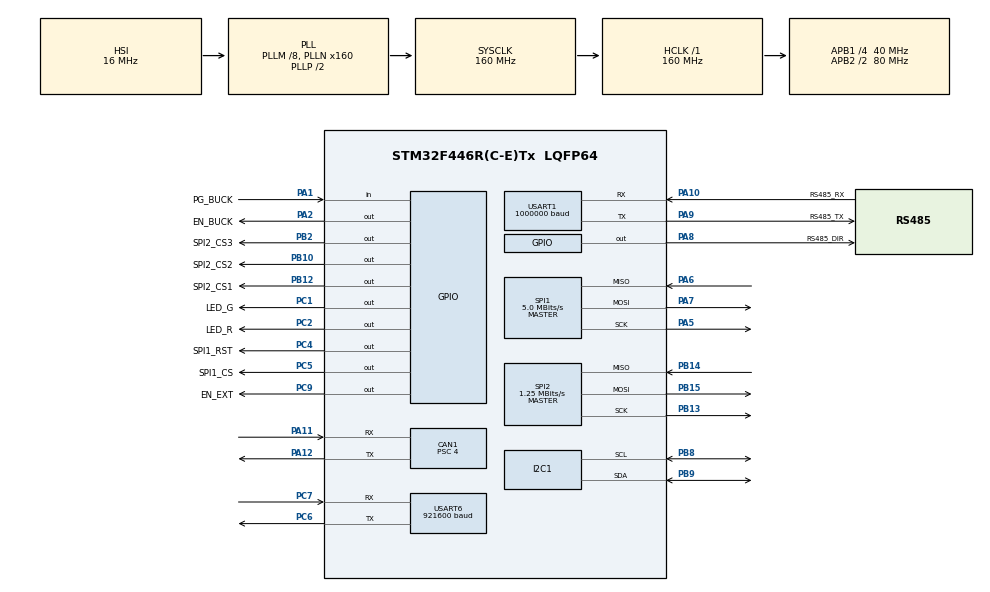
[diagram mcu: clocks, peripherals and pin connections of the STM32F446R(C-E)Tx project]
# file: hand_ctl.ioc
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CAN1.BS1=CAN_BS1_8TQ
CAN1.CalculateBaudRate=1000000
CAN1.CalculateTimeBit=1000
CAN1.CalculateTimeQuantum=100.0
CAN1.Prescaler=4
Dma.Request0=USART1_RX
Dma.Request1=USART1_TX
Dma.Request2=USART6_TX
Dma.Request3=USART6_RX
Dma.USART1_RX.0.Direction=DMA_PERIPH_TO_MEMORY
Dma.USART1_RX.0.FIFOMode=DMA_FIFOMODE_DISABLE
Dma.USART1_RX.0.Instance=DMA2_Stream2
Dma.USART1_RX.0.MemDataAlignment=DMA_MDATAALIGN_BYTE
Dma.USART1_RX.0.MemInc=DMA_MINC_ENABLE
Dma.USART1_RX.0.Mode=DMA_CIRCULAR
Dma.USART1_RX.0.PeriphDataAlignment=DMA_PDATAALIGN_BYTE
Dma.USART1_RX.0.PeriphInc=DMA_PINC_DISABLE
Dma.USART1_RX.0.Priority=DMA_PRIORITY_LOW
Dma.USART1_TX.1.Direction=DMA_MEMORY_TO_PERIPH
Dma.USART1_TX.1.FIFOMode=DMA_FIFOMODE_DISABLE
Dma.USART1_TX.1.Instance=DMA2_Stream7
Dma.USART1_TX.1.MemDataAlignment=DMA_MDATAALIGN_BYTE
Dma.USART1_TX.1.MemInc=DMA_MINC_ENABLE
Dma.USART1_TX.1.Mode=DMA_NORMAL
Dma.USART1_TX.1.PeriphDataAlignment=DMA_PDATAALIGN_BYTE
Dma.USART1_TX.1.PeriphInc=DMA_PINC_DISABLE
Dma.USART1_TX.1.Priority=DMA_PRIORITY_LOW
Dma.USART6_RX.3.Direction=DMA_PERIPH_TO_MEMORY
Dma.USART6_RX.3.FIFOMode=DMA_FIFOMODE_DISABLE
Dma.USART6_RX.3.Instance=DMA2_Stream1
Dma.USART6_RX.3.MemDataAlignment=DMA_MDATAALIGN_BYTE
Dma.USART6_RX.3.MemInc=DMA_MINC_ENABLE
Dma.USART6_RX.3.Mode=DMA_CIRCULAR
Dma.USART6_RX.3.PeriphDataAlignment=DMA_PDATAALIGN_BYTE
Dma.USART6_RX.3.PeriphInc=DMA_PINC_DISABLE
Dma.USART6_RX.3.Priority=DMA_PRIORITY_LOW
Dma.USART6_TX.2.Direction=DMA_MEMORY_TO_PERIPH
Dma.USART6_TX.2.FIFOMode=DMA_FIFOMODE_DISABLE
Dma.USART6_TX.2.Instance=DMA2_Stream6
Dma.USART6_TX.2.MemDataAlignment=DMA_MDATAALIGN_BYTE
Dma.USART6_TX.2.MemInc=DMA_MINC_ENABLE
Dma.USART6_TX.2.Mode=DMA_NORMAL
Dma.USART6_TX.2.PeriphDataAlignment=DMA_PDATAALIGN_BYTE
Dma.USART6_TX.2.PeriphInc=DMA_PINC_DISABLE
Dma.USART6_TX.2.Priority=DMA_PRIORITY_LOW
FREERTOS.Tasks01=defaultTask,24,128,StartDefaultTask,Default,NULL,Dynamic,NULL,NULL;lasfTask,8,128,Start_lasf_Task,Default,NULL,Dynamic,NULL,NULL;rs485Task,8,128,Startrs485,Default,NULL,Dynamic,NULL,NULL;tactileTask,8,128,Start_tectile_Task,Default,NULL,Dynamic,NULL,NULL;soesTask,40,2048,StartsoesTask,Default,NULL,Dynamic,NULL,NULL
FREERTOS.configTOTAL_HEAP_SIZE=65536
FREERTOS.configUSE_NEWLIB_REENTRANT=1
Mcu.Family=STM32F4
Mcu.Name=STM32F446R(C-E)Tx
Mcu.Package=LQFP64
NVIC.CAN1_RX0_IRQn=true\:5\:0\:false\:false\:true\:true\:true\:true\:true
NVIC.DMA2_Stream1_IRQn=true\:5\:0\:false\:false\:true\:true\:false\:true\:true
NVIC.DMA2_Stream2_IRQn=true\:5\:0\:false\:false\:true\:true\:false\:true\:true
NVIC.DMA2_Stream6_IRQn=true\:5\:0\:false\:false\:true\:true\:false\:true\:true
NVIC.DMA2_Stream7_IRQn=true\:5\:0\:false\:false\:true\:true\:false\:true\:true
NVIC.PriorityGroup=NVIC_PRIORITYGROUP_4
NVIC.TIM6_DAC_IRQn=true\:15\:0\:false\:false\:true\:false\:false\:true\:true
NVIC.TimeBase=TIM6_DAC_IRQn
NVIC.TimeBaseIP=TIM6
NVIC.USART1_IRQn=true\:5\:0\:false\:false\:true\:true\:true\:true\:true
NVIC.USART6_IRQn=true\:5\:0\:false\:false\:true\:true\:true\:true\:true
PA1.GPIO_Label=PG_BUCK
PA1.Signal=GPIO_Input
PA10.GPIO_Label=RS485_RX
PA10.Mode=Asynchronous
PA10.Signal=USART1_RX
PA11.Mode=CAN_Activate
PA11.Signal=CAN1_RX
PA12.Mode=CAN_Activate
PA12.Signal=CAN1_TX
PA13.Mode=Trace_Asynchronous_SW
PA13.Signal=SYS_JTMS-SWDIO
PA14.Mode=Trace_Asynchronous_SW
PA14.Signal=SYS_JTCK-SWCLK
PA2.GPIO_Label=EN_BUCK
PA2.Signal=GPIO_Output
PA5.Mode=Full_Duplex_Master
PA5.Signal=SPI1_SCK
PA6.Mode=Full_Duplex_Master
PA6.Signal=SPI1_MISO
PA7.Mode=Full_Duplex_Master
PA7.Signal=SPI1_MOSI
PA8.GPIO_Label=RS485_DIR
PA8.Signal=GPIO_Output
PA9.GPIO_Label=RS485_TX
PA9.Mode=Asynchronous
PA9.Signal=USART1_TX
PB10.GPIO_Label=SPI2_CS2
PB10.Signal=GPIO_Output
PB12.GPIO_Label=SPI2_CS1
PB12.Signal=GPIO_Output
PB13.Mode=Full_Duplex_Master
PB13.Signal=SPI2_SCK
PB14.Mode=Full_Duplex_Master
PB14.Signal=SPI2_MISO
PB15.Mode=Full_Duplex_Master
PB15.Signal=SPI2_MOSI
PB2.GPIO_Label=SPI2_CS3
PB2.Signal=GPIO_Output
PB3.Mode=Trace_Asynchronous_SW
PB3.Signal=SYS_JTDO-SWO
PB8.Mode=I2C
PB8.Signal=I2C1_SCL
PB9.Mode=I2C
PB9.Signal=I2C1_SDA
PC1.GPIO_Label=LED_G
PC1.Signal=GPIO_Output
PC2.GPIO_Label=LED_R
PC2.Signal=GPIO_Output
PC4.GPIO_Label=SPI1_RST
PC4.GPIO_PuPd=GPIO_PULLUP
PC4.PinState=GPIO_PIN_SET
PC4.Signal=GPIO_Output
PC5.GPIO_Label=SPI1_CS
PC5.GPIO_PuPd=GPIO_PULLUP
PC5.PinState=GPIO_PIN_SET
PC5.Signal=GPIO_Output
PC6.Mode=Asynchronous
PC6.Signal=USART6_TX
PC7.Mode=Asynchronous
PC7.Signal=USART6_RX
PC9.GPIO_Label=EN_EXT
PC9.Signal=GPIO_Output
ProjectManager.HeapSize=0x200
ProjectManager.StackSize=0x400
ProjectManager.TargetToolchain=STM32CubeIDE
RCC.AHBFreq_Value=160000000
RCC.APB1CLKDivider=RCC_HCLK_DIV4
RCC.APB1Freq_Value=40000000
RCC.APB1TimFreq_Value=80000000
RCC.APB2CLKDivider=RCC_HCLK_DIV2
RCC.APB2Freq_Value=80000000
RCC.APB2TimFreq_Value=160000000
RCC.CortexFreq_Value=160000000
RCC.HCLKFreq_Value=160000000
RCC.PLLM=8
RCC.PLLN=160
RCC.SYSCLKFreq_VALUE=160000000
RCC.SYSCLKSource=RCC_SYSCLKSOURCE_PLLCLK
RCC.USBFreq_Value=160000000
RCC.VCOOutputFreq_Value=320000000
SPI1.BaudRatePrescaler=SPI_BAUDRATEPRESCALER_16
SPI1.CLKPhase=SPI_PHASE_1EDGE
SPI1.CLKPolarity=SPI_POLARITY_LOW
SPI1.CalculateBaudRate=5.0 MBits/s
SPI1.Direction=SPI_DIRECTION_2LINES
SPI1.Mode=SPI_MODE_MASTER
SPI1.VirtualType=VM_MASTER
SPI2.BaudRatePrescaler=SPI_BAUDRATEPRESCALER_32
SPI2.CLKPhase=SPI_PHASE_2EDGE
SPI2.CLKPolarity=SPI_POLARITY_HIGH
SPI2.CalculateBaudRate=1.25 MBits/s
SPI2.Direction=SPI_DIRECTION_2LINES
SPI2.Mode=SPI_MODE_MASTER
SPI2.VirtualType=VM_MASTER
USART1.BaudRate=1000000
USART1.OverSampling=UART_OVERSAMPLING_8
USART1.VirtualMode=VM_ASYNC
USART6.BaudRate=921600
USART6.OverSampling=UART_OVERSAMPLING_8
USART6.VirtualMode=VM_ASYNC
VP_FREERTOS_VS_CMSIS_V2.Mode=CMSIS_V2
VP_SYS_VS_tim6.Mode=TIM6
board=custom

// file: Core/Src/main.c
/* USER CODE BEGIN Header */
/**
  ******************************************************************************
  * @file           : main.c
  * @brief          : Main program body
  ******************************************************************************
  * @attention
  *
  * Copyright (c) 2026 STMicroelectronics.
  * All rights reserved.
  *
  * This software is licensed under terms that can be found in the LICENSE file
  * in the root directory of this software component.
  * If no LICENSE file comes with this software, it is provided AS-IS.
  *
  ******************************************************************************
  */
/* USER CODE END Header */
#include "main.h"
#include "cmsis_os.h"s

/* USER CODE BEGIN Includes */
#include "rd_common.h"
#include "rd_define.h"

#include "rd_uart.h"
#include "rd_lasf_sc.h"

#include "rd_paxini_sc.h"

#include "rd_aft150_sc.h"

#include "rd_map_dyn.h"
#include "rd_peripheral.h"
#include "rd_uart.h"

#include "esc_hw.h"
#include "ecat_slv.h"
#include "options.h"
#include "utypes.h"
#include <string.h>

/* USER CODE END Includes */

CAN_HandleTypeDef hcan1;

I2C_HandleTypeDef hi2c1;

SPI_HandleTypeDef hspi1;
SPI_HandleTypeDef hspi2;

UART_HandleTypeDef huart1;
UART_HandleTypeDef huart6;
DMA_HandleTypeDef hdma_usart1_rx;
DMA_HandleTypeDef hdma_usart1_tx;
DMA_HandleTypeDef hdma_usart6_tx;
DMA_HandleTypeDef hdma_usart6_rx;

/* Definitions for defaultTask */
osThreadId_t defaultTaskHandle;
const osThreadAttr_t defaultTask_attributes = {
  .name = "defaultTask",
  .stack_size = 128 * 4,
  .priority = (osPriority_t) osPriorityNormal,
};
/* Definitions for lasfTask */
osThreadId_t lasfTaskHandle;
const osThreadAttr_t lasfTask_attributes = {
  .name = "lasfTask",
  .stack_size = 128 * 4,
  .priority = (osPriority_t) osPriorityLow,
};
/* Definitions for rs485Task */
osThreadId_t rs485TaskHandle;
const osThreadAttr_t rs485Task_attributes = {
  .name = "rs485Task",
  .stack_size = 128 * 4,
  .priority = (osPriority_t) osPriorityLow,
};
/* Definitions for tactileTask */
osThreadId_t tactileTaskHandle;
const osThreadAttr_t tactileTask_attributes = {
  .name = "tactileTask",
  .stack_size = 128 * 4,
  .priority = (osPriority_t) osPriorityLow,
};
/* Definitions for soesTask */
osThreadId_t soesTaskHandle;
const osThreadAttr_t soesTask_attributes = {
  .name = "soesTask",
  .stack_size = 2048 * 4,
  .priority = (osPriority_t) osPriorityHigh,
};
/* USER CODE BEGIN PV */

/*==========EtherCAT SPI1번==========*/
uint32_t esc_id = 0;
uint32_t sm0_temp = 0;
uint32_t sm1_temp = 0;

static esc_cfg_t esc_config =
{
    .user_arg = NULL,
    .use_interrupt = 0,
    .watchdog_cnt = 500,
    .skip_default_initialization = false,

    .set_defaults_hook = NULL,
    .pre_state_change_hook = NULL,
    .post_state_change_hook = NULL,
    .application_hook = NULL,
    .safeoutput_override = NULL,

    .pre_object_download_hook = NULL,
    .post_object_download_hook = NULL,
    .pre_object_upload_hook = NULL,
    .post_object_upload_hook = NULL,

    .rxpdo_override = NULL,
    .txpdo_override = NULL,

    .esc_hw_interrupt_enable = NULL,
    .esc_hw_interrupt_disable = NULL,
    .esc_hw_eep_handler = NULL,
    .esc_check_dc_handler = NULL,
    .get_device_id = NULL
};

_Objects    Obj;
uint8_t dir_toggle;

/*==========LASF usart6번==========*/
UART_Ring_t LASF_uart6 = {
    .rx_buffer = {0},           // 배열 초기화
    .head = 0,
    .tail = 0,
    .huart = &huart6,        // 미리 선언된 UART_HandleTypeDef

	.temp_buffer = {0},
	.rx_new = 0,
	.last_rx_tick = 0
};
LASF_COMM_t LASF[LASF_NUM];

/*==========paxini spi1번==========*/
uint8_t my_pdata[16];
PAXINI_PACKET_t tactile[3];
uint8_t paxini_ID[3] = {2,3,4};

/*==========USART1 RS485 (Dynamixel)==========*/
UART_Ring_t DYN_uart1 = {
    .huart      = &huart1,
    .is_running = 0
};

RS485_t DYN_rs485 = {
    .uart_obj = &DYN_uart1
};
uint32_t Diff_tick;

DYN_Ctrl_t xc330[3];

/*==========AFT150 세팅==========*/
AFT150_DATA_t AFT150_data;

CAN_FilterTypeDef sFilterConfig;

/* USER CODE END PV */

void SystemClock_Config(void);
static void MX_GPIO_Init(void);
static void MX_DMA_Init(void);
static void MX_USART1_UART_Init(void);
static void MX_I2C1_Init(void);
static void MX_SPI1_Init(void);
static void MX_USART6_UART_Init(void);
static void MX_CAN1_Init(void);
static void MX_SPI2_Init(void);
void StartDefaultTask(void *argument);
void Start_lasf_Task(void *argument);
void Startrs485(void *argument);
void Start_tectile_Task(void *argument);
void StartsoesTask(void *argument);

/* USER CODE BEGIN PFP */
//void Aidin_Sensor_Start(void);
//void Aidin_Sensor_Cali(void);
/* USER CODE END PFP */

/* USER CODE BEGIN 0 */
void cb_get_inputs()
{
    // write to slave TxPDO
    // dummy value, so that sawtooth value profile will be seen constantly changing by ecat master

	/*==========AFT150==========*/
	//RX
	AFT150_data.FT_Offset[0] = Obj.AFT150_Config.ft_offset_fx;
	AFT150_data.FT_Offset[1] = Obj.AFT150_Config.ft_offset_fy;
	AFT150_data.FT_Offset[2] = Obj.AFT150_Config.ft_offset_fz;
	AFT150_data.FT_Offset[3] = Obj.AFT150_Config.ft_offset_mx;
	AFT150_data.FT_Offset[4] = Obj.AFT150_Config.ft_offset_my;
	AFT150_data.FT_Offset[5] = Obj.AFT150_Config.ft_offset_mz;
	//TX
	Obj.AFT150_T.ft_fx = AFT150_data.FT_Low[0] - AFT150_data.FT_Offset[0]; //offset
	Obj.AFT150_T.ft_fy = AFT150_data.FT_Low[1] - AFT150_data.FT_Offset[1];
	Obj.AFT150_T.ft_fz = AFT150_data.FT_Low[2] - AFT150_data.FT_Offset[2];
	Obj.AFT150_T.ft_mx = AFT150_data.FT_Low[3] - AFT150_data.FT_Offset[3];
	Obj.AFT150_T.ft_my = AFT150_data.FT_Low[4] - AFT150_data.FT_Offset[4];
	Obj.AFT150_T.ft_mz = AFT150_data.FT_Low[5] - AFT150_data.FT_Offset[5];

	/*==========LASF==========*/
	//SDO
	LASF[0].LASF.CTL_MODE 					= (uint16_t)Obj.LASF_Config_1.lasf_1_operating_mode;
	LASF[0].LASF.FT_OFFSET 					= Obj.LASF_Config_1.lasf_1_offset_force;
	//RX
	LASF[0].LASF.CTL_POS 					= Obj.LASF_1_R.lasf_1_target_position;
	LASF[0].LASF.CTL_FORCE 					= Obj.LASF_1_R.lasf_1_target_force;
	LASF[0].LASF.CTL_SPEED 					= Obj.LASF_1_R.lasf_1_target_speed;
	//TX
	Obj.LASF_1_T.lasf_1_actual_position 	= LASF[0].LASF.ACT_POS;
	Obj.LASF_1_T.lasf_1_actual_current 		= LASF[0].LASF.CURRENT;
	Obj.LASF_1_T.lasf_1_actual_force 		= LASF[0].LASF.FT_VAL;
	Obj.LASF_1_T.lasf_1_temperature 		= LASF[0].LASF.TEMP;
	Obj.LASF_1_T.lasf_1_error_code 			= LASF[0].LASF.Error_C;
	Obj.LASF_1_T.lasf_1_force_adc 			= LASF[0].LASF.FT_ADC;
	Obj.LASF_1_T.lasf_1_target_position 	= LASF[0].LASF.TAR_POS;

	//SDO
	LASF[1].LASF.CTL_MODE 					= (uint16_t)Obj.LASF_Config_2.lasf_2_operating_mode;
	LASF[1].LASF.FT_OFFSET 					= Obj.LASF_Config_2.lasf_2_offset_force;
	//RX
	LASF[1].LASF.CTL_POS 					= Obj.LASF_2_R.lasf_2_target_position;
	LASF[1].LASF.CTL_FORCE 					= Obj.LASF_2_R.lasf_2_target_force;
	LASF[1].LASF.CTL_SPEED 					= Obj.LASF_2_R.lasf_2_target_speed;
	//TX
	Obj.LASF_2_T.lasf_2_actual_position 	= LASF[1].LASF.ACT_POS;
	Obj.LASF_2_T.lasf_2_actual_current 		= LASF[1].LASF.CURRENT;
	Obj.LASF_2_T.lasf_2_actual_force 		= LASF[1].LASF.FT_VAL;
	Obj.LASF_2_T.lasf_2_temperature 		= LASF[1].LASF.TEMP;
	Obj.LASF_2_T.lasf_2_error_code 			= LASF[1].LASF.Error_C;
	Obj.LASF_2_T.lasf_2_force_adc 			= LASF[1].LASF.FT_ADC;
	Obj.LASF_2_T.lasf_2_target_position 	= LASF[1].LASF.TAR_POS;

	//SDO
	LASF[2].LASF.CTL_MODE 					= (uint16_t)Obj.LASF_Config_3.lasf_3_operating_mode;
	LASF[2].LASF.FT_OFFSET 					= Obj.LASF_Config_3.lasf_3_offset_force;
	//RX
	LASF[2].LASF.CTL_POS 					= Obj.LASF_3_R.lasf_3_target_position;
	LASF[2].LASF.CTL_FORCE 					= Obj.LASF_3_R.lasf_3_target_force;
	LASF[2].LASF.CTL_SPEED 					= Obj.LASF_3_R.lasf_3_target_speed;
	//TX
	Obj.LASF_3_T.lasf_3_actual_position 	= LASF[2].LASF.ACT_POS;
	Obj.LASF_3_T.lasf_3_actual_current 		= LASF[2].LASF.CURRENT;
	Obj.LASF_3_T.lasf_3_actual_force 		= LASF[2].LASF.FT_VAL;
	Obj.LASF_3_T.lasf_3_temperature 		= LASF[2].LASF.TEMP;
	Obj.LASF_3_T.lasf_3_error_code 			= LASF[2].LASF.Error_C;
	Obj.LASF_3_T.lasf_3_force_adc 			= LASF[2].LASF.FT_ADC;
	Obj.LASF_3_T.lasf_3_target_position 	= LASF[2].LASF.TAR_POS;

	//SDO
	LASF[3].LASF.CTL_MODE 					= (uint16_t)Obj.LASF_Config_4.lasf_4_operating_mode;
	LASF[3].LASF.FT_OFFSET 					= Obj.LASF_Config_4.lasf_4_offset_force;
	//RX
	LASF[3].LASF.CTL_POS 					= Obj.LASF_4_R.lasf_4_target_position;
	LASF[3].LASF.CTL_FORCE 					= Obj.LASF_4_R.lasf_4_target_force;
	LASF[3].LASF.CTL_SPEED 					= Obj.LASF_4_R.lasf_4_target_speed;
	//TX
	Obj.LASF_4_T.lasf_4_actual_position 	= LASF[3].LASF.ACT_POS;
	Obj.LASF_4_T.lasf_4_actual_current 		= LASF[3].LASF.CURRENT;
	Obj.LASF_4_T.lasf_4_actual_force 		= LASF[3].LASF.FT_VAL;
	Obj.LASF_4_T.lasf_4_temperature 		= LASF[3].LASF.TEMP;
	Obj.LASF_4_T.lasf_4_error_code 			= LASF[3].LASF.Error_C;
	Obj.LASF_4_T.lasf_4_force_adc 			= LASF[3].LASF.FT_ADC;
	Obj.LASF_4_T.lasf_4_target_position 	= LASF[3].LASF.TAR_POS;

	//SDO
	LASF[4].LASF.CTL_MODE 					= (uint16_t)Obj.LASF_Config_5.lasf_5_operating_mode;
	LASF[4].LASF.FT_OFFSET 					= Obj.LASF_Config_5.lasf_5_offset_force;
	//RX
	LASF[4].LASF.CTL_POS 					= Obj.LASF_5_R.lasf_5_target_position;
	LASF[4].LASF.CTL_FORCE 					= Obj.LASF_5_R.lasf_5_target_force;
	LASF[4].LASF.CTL_SPEED 					= Obj.LASF_5_R.lasf_5_target_speed;
	//TX
	Obj.LASF_5_T.lasf_5_actual_position 	= LASF[4].LASF.ACT_POS;
	Obj.LASF_5_T.lasf_5_actual_current 		= LASF[4].LASF.CURRENT;
	Obj.LASF_5_T.lasf_5_actual_force 		= LASF[4].LASF.FT_VAL;
	Obj.LASF_5_T.lasf_5_temperature 		= LASF[4].LASF.TEMP;
	Obj.LASF_5_T.lasf_5_error_code 			= LASF[4].LASF.Error_C;
	Obj.LASF_5_T.lasf_5_force_adc 			= LASF[4].LASF.FT_ADC;
	Obj.LASF_5_T.lasf_5_target_position 	= LASF[4].LASF.TAR_POS;

	//SDO
	LASF[5].LASF.CTL_MODE 					= (uint16_t)Obj.LASF_Config_6.lasf_6_operating_mode;
	LASF[5].LASF.FT_OFFSET 					= Obj.LASF_Config_6.lasf_6_offset_force;
	//RX
	LASF[5].LASF.CTL_POS 					= Obj.LASF_6_R.lasf_6_target_position;
	LASF[5].LASF.CTL_FORCE 					= Obj.LASF_6_R.lasf_6_target_force;
	LASF[5].LASF.CTL_SPEED 					= Obj.LASF_6_R.lasf_6_target_speed;
	//TX
	Obj.LASF_6_T.lasf_6_actual_position 	= LASF[5].LASF.ACT_POS;
	Obj.LASF_6_T.lasf_6_actual_current 		= LASF[5].LASF.CURRENT;
	Obj.LASF_6_T.lasf_6_actual_force 		= LASF[5].LASF.FT_VAL;
	Obj.LASF_6_T.lasf_6_temperature 		= LASF[5].LASF.TEMP;
	Obj.LASF_6_T.lasf_6_error_code 			= LASF[5].LASF.Error_C;
	Obj.LASF_6_T.lasf_6_force_adc 			= LASF[5].LASF.FT_ADC;
	Obj.LASF_6_T.lasf_6_target_position 	= LASF[5].LASF.TAR_POS;

	//SDO
	LASF[6].LASF.CTL_MODE 					= (uint16_t)Obj.LASF_Config_7.lasf_7_operating_mode;
	LASF[6].LASF.FT_OFFSET 					= Obj.LASF_Config_7.lasf_7_offset_force;
	//RX
	LASF[6].LASF.CTL_POS 					= Obj.LASF_7_R.lasf_7_target_position;
	LASF[6].LASF.CTL_FORCE 					= Obj.LASF_7_R.lasf_7_target_force;
	LASF[6].LASF.CTL_SPEED 					= Obj.LASF_7_R.lasf_7_target_speed;
	//TX
	Obj.LASF_7_T.lasf_7_actual_position 	= LASF[6].LASF.ACT_POS;
	Obj.LASF_7_T.lasf_7_actual_current 		= LASF[6].LASF.CURRENT;
	Obj.LASF_7_T.lasf_7_actual_force 		= LASF[6].LASF.FT_VAL;
	Obj.LASF_7_T.lasf_7_temperature 		= LASF[6].LASF.TEMP;
	Obj.LASF_7_T.lasf_7_error_code 			= LASF[6].LASF.Error_C;
	Obj.LASF_7_T.lasf_7_force_adc 			= LASF[6].LASF.FT_ADC;
	Obj.LASF_7_T.lasf_7_target_position 	= LASF[6].LASF.TAR_POS;

	//SDO
	LASF[7].LASF.CTL_MODE 					= (uint16_t)Obj.LASF_Config_8.lasf_8_operating_mode;
	LASF[7].LASF.FT_OFFSET 					= Obj.LASF_Config_8.lasf_8_offset_force;
	//RX
	LASF[7].LASF.CTL_POS 					= Obj.LASF_8_R.lasf_8_target_position;
	LASF[7].LASF.CTL_FORCE 					= Obj.LASF_8_R.lasf_8_target_force;
	LASF[7].LASF.CTL_SPEED 					= Obj.LASF_8_R.lasf_8_target_speed;
	//TX
	Obj.LASF_8_T.lasf_8_actual_position 	= LASF[7].LASF.ACT_POS;
	Obj.LASF_8_T.lasf_8_actual_current 		= LASF[7].LASF.CURRENT;
	Obj.LASF_8_T.lasf_8_actual_force 		= LASF[7].LASF.FT_VAL;
	Obj.LASF_8_T.lasf_8_temperature 		= LASF[7].LASF.TEMP;
	Obj.LASF_8_T.lasf_8_error_code 			= LASF[7].LASF.Error_C;
	Obj.LASF_8_T.lasf_8_force_adc 			= LASF[7].LASF.FT_ADC;
	Obj.LASF_8_T.lasf_8_target_position 	= LASF[7].LASF.TAR_POS;

	//SDO
	LASF[8].LASF.CTL_MODE 					= (uint16_t)Obj.LASF_Config_9.lasf_9_operating_mode;
	LASF[8].LASF.FT_OFFSET 					= Obj.LASF_Config_9.lasf_9_offset_force;
	//RX
	LASF[8].LASF.CTL_POS 					= Obj.LASF_9_R.lasf_9_target_position;
	LASF[8].LASF.CTL_FORCE 					= Obj.LASF_9_R.lasf_9_target_force;
	LASF[8].LASF.CTL_SPEED 					= Obj.LASF_9_R.lasf_9_target_speed;
	//TX
	Obj.LASF_9_T.lasf_9_actual_position 	= LASF[8].LASF.ACT_POS;
	Obj.LASF_9_T.lasf_9_actual_current 		= LASF[8].LASF.CURRENT;
	Obj.LASF_9_T.lasf_9_actual_force 		= LASF[8].LASF.FT_VAL;
	Obj.LASF_9_T.lasf_9_temperature 		= LASF[8].LASF.TEMP;
	Obj.LASF_9_T.lasf_9_error_code 			= LASF[8].LASF.Error_C;
	Obj.LASF_9_T.lasf_9_force_adc 			= LASF[8].LASF.FT_ADC;
	Obj.LASF_9_T.lasf_9_target_position 	= LASF[8].LASF.TAR_POS;
	/*==========Dynamixel==========*/
	//SDO
	if (xc330[0].ctl_enable == 0) xc330[0].ctl_mode = (DYN_MODE_e)Obj.Dynamixel_Config.dxl_1_operating_mode;
	//RX
	xc330[0].ram.cmd.goal_position				= Obj.Dynamixel_1_R.dxl_1_goal_position + 2048; //add offset
	xc330[0].ram.cmd.goal_current				= Obj.Dynamixel_1_R.dxl_1_goal_current;
	xc330[0].ram.cmd.goal_velocity 				= Obj.Dynamixel_1_R.dxl_1_goal_velocity;
	xc330[0].ctl_enable							= Obj.Dynamixel_1_R.dxl_1_torque_enable;
	//TX
	Obj.Dynamixel_1_T.dxl_1_present_position 	= xc330[0].ram.state.present_position - 2048; //restore offset
	Obj.Dynamixel_1_T.dxl_1_present_current 	= xc330[0].ram.state.present_current;
	Obj.Dynamixel_1_T.dxl_1_present_temperature = (int8_t)xc330[0].ram.state.present_temperature;
	Obj.Dynamixel_1_T.dxl_1_hardware_error 		= xc330[0].hardware_error;
	Obj.Dynamixel_1_T.dxl_1_present_velocity 	= xc330[0].ram.state.present_velocity;
	Obj.Dynamixel_1_T.dxl_1_moving 				= xc330[0].ram.state.moving;
	Obj.Dynamixel_1_T.dxl_1_moving_status 		= xc330[0].ram.state.moving_status;

	//SDO
	if (xc330[1].ctl_enable == 0) xc330[1].ctl_mode = (DYN_MODE_e)Obj.Dynamixel_Config.dxl_2_operating_mode;
	//RX
	xc330[1].ram.cmd.goal_position				= Obj.Dynamixel_2_R.dxl_2_goal_position + 2048;
	xc330[1].ram.cmd.goal_current				= Obj.Dynamixel_2_R.dxl_2_goal_current;
	xc330[1].ram.cmd.goal_velocity 				= Obj.Dynamixel_2_R.dxl_2_goal_velocity;
	xc330[1].ctl_enable							= Obj.Dynamixel_2_R.dxl_2_torque_enable;
	//TX
	Obj.Dynamixel_2_T.dxl_2_present_position 	= xc330[1].ram.state.present_position - 2048;
	Obj.Dynamixel_2_T.dxl_2_present_current 	= xc330[1].ram.state.present_current;
	Obj.Dynamixel_2_T.dxl_2_present_temperature = (int8_t)xc330[1].ram.state.present_temperature;
	Obj.Dynamixel_2_T.dxl_2_hardware_error 		= xc330[1].hardware_error;
	Obj.Dynamixel_2_T.dxl_2_present_velocity 	= xc330[1].ram.state.present_velocity;
	Obj.Dynamixel_2_T.dxl_2_moving 				= xc330[1].ram.state.moving;
	Obj.Dynamixel_2_T.dxl_2_moving_status 		= xc330[1].ram.state.moving_status;

	//SDO
	if (xc330[2].ctl_enable == 0) xc330[2].ctl_mode = (DYN_MODE_e)Obj.Dynamixel_Config.dxl_3_operating_mode;
	//RX
	xc330[2].ram.cmd.goal_position				= Obj.Dynamixel_3_R.dxl_3_goal_position + 2048;
	xc330[2].ram.cmd.goal_current				= Obj.Dynamixel_3_R.dxl_3_goal_current;
	xc330[2].ram.cmd.goal_velocity 				= Obj.Dynamixel_3_R.dxl_3_goal_velocity;
	xc330[2].ctl_enable							= Obj.Dynamixel_3_R.dxl_3_torque_enable;
	//TX
	Obj.Dynamixel_3_T.dxl_3_present_position 	= xc330[2].ram.state.present_position - 2048;
	Obj.Dynamixel_3_T.dxl_3_present_current 	= xc330[2].ram.state.present_current;
	Obj.Dynamixel_3_T.dxl_3_present_temperature = (int8_t)xc330[2].ram.state.present_temperature;
	Obj.Dynamixel_3_T.dxl_3_hardware_error 		= xc330[2].hardware_error;
	Obj.Dynamixel_3_T.dxl_3_present_velocity 	= xc330[2].ram.state.present_velocity;
	Obj.Dynamixel_3_T.dxl_3_moving 				= xc330[2].ram.state.moving;
	Obj.Dynamixel_3_T.dxl_3_moving_status 		= xc330[2].ram.state.moving_status;

	/*==========PAXINI_Tactile==========*/
	//SDO
	//TODO : add offset function
	//RX
	Obj.Tactile_T.tactile_1_fx					= tactile[0].GET_SUM.Fx;
	Obj.Tactile_T.tactile_1_fy					= tactile[0].GET_SUM.Fy;
	Obj.Tactile_T.tactile_1_fz					= tactile[0].GET_SUM.Fz;
	//TX - None

	//SDO
	//TODO : add offset function
	//RX
	Obj.Tactile_T.tactile_2_fx					= tactile[1].GET_SUM.Fx;
	Obj.Tactile_T.tactile_2_fy					= tactile[1].GET_SUM.Fy;
	Obj.Tactile_T.tactile_2_fz					= tactile[1].GET_SUM.Fz;
	//TX - None

	//SDO
	//TODO : add offset function
	//RX
	Obj.Tactile_T.tactile_3_fx					= tactile[2].GET_SUM.Fx;
	Obj.Tactile_T.tactile_3_fy					= tactile[2].GET_SUM.Fy;
	Obj.Tactile_T.tactile_3_fz					= tactile[2].GET_SUM.Fz;
	//TX - None

}

void cb_set_outputs()
{

}
/* USER CODE END 0 */

int main(void)
{

  /* MCU Configuration--------------------------------------------------------*/

  /* Reset of all peripherals, Initializes the Flash interface and the Systick. */
  HAL_Init();

  /* USER CODE BEGIN Init */
  HAL_Delay(100);
  /* USER CODE END Init */

  /* Configure the system clock */
  SystemClock_Config();

  /* Initialize all configured peripherals */
  MX_GPIO_Init();
  MX_DMA_Init();
  MX_USART1_UART_Init();
  MX_I2C1_Init();
  MX_SPI1_Init();
  MX_USART6_UART_Init();
  MX_CAN1_Init();
  MX_SPI2_Init();
  /* USER CODE BEGIN 2 */

  /*=========PWR INIT==========*/
  HAL_GPIO_WritePin(EN_EXT_GPIO_Port, EN_EXT_Pin, GPIO_PIN_RESET);
  HAL_GPIO_WritePin(EN_BUCK_GPIO_Port, EN_BUCK_Pin, GPIO_PIN_RESET);
  Paxini_Init(); //set spi mode

  HAL_Delay(500);

  HAL_GPIO_WritePin(EN_EXT_GPIO_Port, EN_EXT_Pin, GPIO_PIN_SET);
  HAL_GPIO_WritePin(EN_BUCK_GPIO_Port, EN_BUCK_Pin, GPIO_PIN_SET);
  HAL_Delay(500);

  /*==========LASF INIT==========*/
  /*
  if (RD_UART_INIT(&LASF_uart6) != RET_OK) Error_Handler();

  for (int i=0; i<LASF_NUM; i++){
	  RD_LASF_INIT(&LASF[i]);
	  LASF[i].LASF.ID = i+1;
	  LASF[i].RX.ID = i+1;
	  LASF[i].TX.ID = i+1;
  }
	*/

  /*==========PAXINI INIT==========*/
  //Paxini_Init();
  //HAL_Delay(100);
  //uint8_t tare_cmd = 1;
  // 1번 노드(Finger 1), 0x79 기능코드, 주소 3번에 1바이트(1) 쓰기
  //Paxini_Write(paxini_ID, 0x79, 3, 1, &tare_cmd);
  //HAL_Delay(100);

  /*==========DYN INIT==========*/

  /*==========AFT150 INIT==========*/

  //CAN FILTER SETTING
  sFilterConfig.FilterBank = 0;
  sFilterConfig.FilterMode = CAN_FILTERMODE_IDMASK;
  sFilterConfig.FilterScale = CAN_FILTERSCALE_32BIT;

  //sFilterConfig.FilterIdHigh = 0x230 << 5;
  //sFilterConfig.FilterIdLow = 0x0000;
  sFilterConfig.FilterIdHigh = 0x0000;
  sFilterConfig.FilterIdLow = 0x0000;

  //sFilterConfig.FilterMaskIdHigh = 0x7FE << 5;
  //sFilterConfig.FilterMaskIdLow = 0x0000;
  sFilterConfig.FilterMaskIdHigh = 0x0000;
  sFilterConfig.FilterMaskIdLow = 0x0000;

  sFilterConfig.FilterFIFOAssignment = CAN_RX_FIFO0;
  sFilterConfig.FilterActivation = CAN_FILTER_ENABLE;
  sFilterConfig.SlaveStartFilterBank = 14;

  HAL_Delay(500);

  if (HAL_CAN_ConfigFilter(&hcan1, &sFilterConfig) != HAL_OK) {
      Error_Handler();
  }
  if (HAL_CAN_Start(&hcan1) != HAL_OK) {
      Error_Handler();
  }
  if (HAL_CAN_ActivateNotification(&hcan1, CAN_IT_RX_FIFO0_MSG_PENDING) != HAL_OK) {
      Error_Handler();
  }

  Aidin_Sensor_Start(); //start sensor
  //Aidin_Sensor_Cali();	//baiasing sensor offset

  /* USER CODE END 2 */

  /* Init scheduler */
  osKernelInitialize();

  /* Create the thread(s) */
  /* creation of defaultTask */
  defaultTaskHandle = osThreadNew(StartDefaultTask, NULL, &defaultTask_attributes);

  /* creation of lasfTask */
  lasfTaskHandle = osThreadNew(Start_lasf_Task, NULL, &lasfTask_attributes);

  /* creation of rs485Task */
  rs485TaskHandle = osThreadNew(Startrs485, NULL, &rs485Task_attributes);

  /* creation of tactileTask */
  tactileTaskHandle = osThreadNew(Start_tectile_Task, NULL, &tactileTask_attributes);

  /* creation of soesTask */
  soesTaskHandle = osThreadNew(StartsoesTask, NULL, &soesTask_attributes);

  /* Start scheduler */
  osKernelStart();

  /* We should never get here as control is now taken by the scheduler */

  /* Infinite loop */
  while (1)
  {

  }
}

void SystemClock_Config(void)
{
  RCC_OscInitTypeDef RCC_OscInitStruct = {0};
  RCC_ClkInitTypeDef RCC_ClkInitStruct = {0};

  /** Configure the main internal regulator output voltage
  */
  __HAL_RCC_PWR_CLK_ENABLE();
  __HAL_PWR_VOLTAGESCALING_CONFIG(PWR_REGULATOR_VOLTAGE_SCALE1);

  /** Initializes the RCC Oscillators according to the specified parameters
  * in the RCC_OscInitTypeDef structure.
  */
  RCC_OscInitStruct.OscillatorType = RCC_OSCILLATORTYPE_HSI;
  RCC_OscInitStruct.HSIState = RCC_HSI_ON;
  RCC_OscInitStruct.HSICalibrationValue = RCC_HSICALIBRATION_DEFAULT;
  RCC_OscInitStruct.PLL.PLLState = RCC_PLL_ON;
  RCC_OscInitStruct.PLL.PLLSource = RCC_PLLSOURCE_HSI;
  RCC_OscInitStruct.PLL.PLLM = 8;
  RCC_OscInitStruct.PLL.PLLN = 160;
  RCC_OscInitStruct.PLL.PLLP = RCC_PLLP_DIV2;
  RCC_OscInitStruct.PLL.PLLQ = 2;
  RCC_OscInitStruct.PLL.PLLR = 2;
  if (HAL_RCC_OscConfig(&RCC_OscInitStruct) != HAL_OK)
  {
    Error_Handler();
  }

  /** Initializes the CPU, AHB and APB buses clocks
  */
  RCC_ClkInitStruct.ClockType = RCC_CLOCKTYPE_HCLK|RCC_CLOCKTYPE_SYSCLK
                              |RCC_CLOCKTYPE_PCLK1|RCC_CLOCKTYPE_PCLK2;
  RCC_ClkInitStruct.SYSCLKSource = RCC_SYSCLKSOURCE_PLLCLK;
  RCC_ClkInitStruct.AHBCLKDivider = RCC_SYSCLK_DIV1;
  RCC_ClkInitStruct.APB1CLKDivider = RCC_HCLK_DIV4;
  RCC_ClkInitStruct.APB2CLKDivider = RCC_HCLK_DIV2;

  if (HAL_RCC_ClockConfig(&RCC_ClkInitStruct, FLASH_LATENCY_5) != HAL_OK)
  {
    Error_Handler();
  }
}

static void MX_CAN1_Init(void)
{

  hcan1.Instance = CAN1;
  hcan1.Init.Prescaler = 4;
  hcan1.Init.Mode = CAN_MODE_NORMAL;
  hcan1.Init.SyncJumpWidth = CAN_SJW_1TQ;
  hcan1.Init.TimeSeg1 = CAN_BS1_8TQ;
  hcan1.Init.TimeSeg2 = CAN_BS2_1TQ;
  hcan1.Init.TimeTriggeredMode = DISABLE;
  hcan1.Init.AutoBusOff = DISABLE;
  hcan1.Init.AutoWakeUp = DISABLE;
  hcan1.Init.AutoRetransmission = DISABLE;
  hcan1.Init.ReceiveFifoLocked = DISABLE;
  hcan1.Init.TransmitFifoPriority = DISABLE;
  if (HAL_CAN_Init(&hcan1) != HAL_OK)
  {
    Error_Handler();
  }

}

static void MX_I2C1_Init(void)
{

  hi2c1.Instance = I2C1;
  hi2c1.Init.ClockSpeed = 100000;
  hi2c1.Init.DutyCycle = I2C_DUTYCYCLE_2;
  hi2c1.Init.OwnAddress1 = 0;
  hi2c1.Init.AddressingMode = I2C_ADDRESSINGMODE_7BIT;
  hi2c1.Init.DualAddressMode = I2C_DUALADDRESS_DISABLE;
  hi2c1.Init.OwnAddress2 = 0;
  hi2c1.Init.GeneralCallMode = I2C_GENERALCALL_DISABLE;
  hi2c1.Init.NoStretchMode = I2C_NOSTRETCH_DISABLE;
  if (HAL_I2C_Init(&hi2c1) != HAL_OK)
  {
    Error_Handler();
  }

}

static void MX_SPI1_Init(void)
{

  /* SPI1 parameter configuration*/
  hspi1.Instance = SPI1;
  hspi1.Init.Mode = SPI_MODE_MASTER;
  hspi1.Init.Direction = SPI_DIRECTION_2LINES;
  hspi1.Init.DataSize = SPI_DATASIZE_8BIT;
  hspi1.Init.CLKPolarity = SPI_POLARITY_LOW;
  hspi1.Init.CLKPhase = SPI_PHASE_1EDGE;
  hspi1.Init.NSS = SPI_NSS_SOFT;
  hspi1.Init.BaudRatePrescaler = SPI_BAUDRATEPRESCALER_16;
  hspi1.Init.FirstBit = SPI_FIRSTBIT_MSB;
  hspi1.Init.TIMode = SPI_TIMODE_DISABLE;
  hspi1.Init.CRCCalculation = SPI_CRCCALCULATION_DISABLE;
  hspi1.Init.CRCPolynomial = 10;
  if (HAL_SPI_Init(&hspi1) != HAL_OK)
  {
    Error_Handler();
  }

}

static void MX_SPI2_Init(void)
{

  /* SPI2 parameter configuration*/
  hspi2.Instance = SPI2;
  hspi2.Init.Mode = SPI_MODE_MASTER;
  hspi2.Init.Direction = SPI_DIRECTION_2LINES;
  hspi2.Init.DataSize = SPI_DATASIZE_8BIT;
  hspi2.Init.CLKPolarity = SPI_POLARITY_HIGH;
  hspi2.Init.CLKPhase = SPI_PHASE_2EDGE;
  hspi2.Init.NSS = SPI_NSS_SOFT;
  hspi2.Init.BaudRatePrescaler = SPI_BAUDRATEPRESCALER_32;
  hspi2.Init.FirstBit = SPI_FIRSTBIT_MSB;
  hspi2.Init.TIMode = SPI_TIMODE_DISABLE;
  hspi2.Init.CRCCalculation = SPI_CRCCALCULATION_DISABLE;
  hspi2.Init.CRCPolynomial = 10;
  if (HAL_SPI_Init(&hspi2) != HAL_OK)
  {
    Error_Handler();
  }

}

static void MX_USART1_UART_Init(void)
{

  huart1.Instance = USART1;
  huart1.Init.BaudRate = 1000000;
  huart1.Init.WordLength = UART_WORDLENGTH_8B;
  huart1.Init.StopBits = UART_STOPBITS_1;
  huart1.Init.Parity = UART_PARITY_NONE;
  huart1.Init.Mode = UART_MODE_TX_RX;
  huart1.Init.HwFlowCtl = UART_HWCONTROL_NONE;
  huart1.Init.OverSampling = UART_OVERSAMPLING_8;
  if (HAL_UART_Init(&huart1) != HAL_OK)
  {
    Error_Handler();
  }

}

static void MX_USART6_UART_Init(void)
{

  huart6.Instance = USART6;
  huart6.Init.BaudRate = 921600;
  huart6.Init.WordLength = UART_WORDLENGTH_8B;
  huart6.Init.StopBits = UART_STOPBITS_1;
  huart6.Init.Parity = UART_PARITY_NONE;
  huart6.Init.Mode = UART_MODE_TX_RX;
  huart6.Init.HwFlowCtl = UART_HWCONTROL_NONE;
  huart6.Init.OverSampling = UART_OVERSAMPLING_8;
  if (HAL_UART_Init(&huart6) != HAL_OK)
  {
    Error_Handler();
  }

}

static void MX_DMA_Init(void)
{

  /* DMA controller clock enable */
  __HAL_RCC_DMA2_CLK_ENABLE();

  /* DMA interrupt init */
  /* DMA2_Stream1_IRQn interrupt configuration */
  HAL_NVIC_SetPriority(DMA2_Stream1_IRQn, 5, 0);
  HAL_NVIC_EnableIRQ(DMA2_Stream1_IRQn);
  /* DMA2_Stream2_IRQn interrupt configuration */
  HAL_NVIC_SetPriority(DMA2_Stream2_IRQn, 5, 0);
  HAL_NVIC_EnableIRQ(DMA2_Stream2_IRQn);
  /* DMA2_Stream6_IRQn interrupt configuration */
  HAL_NVIC_SetPriority(DMA2_Stream6_IRQn, 5, 0);
  HAL_NVIC_EnableIRQ(DMA2_Stream6_IRQn);
  /* DMA2_Stream7_IRQn interrupt configuration */
  HAL_NVIC_SetPriority(DMA2_Stream7_IRQn, 5, 0);
  HAL_NVIC_EnableIRQ(DMA2_Stream7_IRQn);

}

static void MX_GPIO_Init(void)
{
  GPIO_InitTypeDef GPIO_InitStruct = {0};

  /* GPIO Ports Clock Enable */
  __HAL_RCC_GPIOC_CLK_ENABLE();
  __HAL_RCC_GPIOA_CLK_ENABLE();
  __HAL_RCC_GPIOB_CLK_ENABLE();

  /*Configure GPIO pin Output Level */
  HAL_GPIO_WritePin(GPIOC, LED_G_Pin|LED_R_Pin|EN_EXT_Pin, GPIO_PIN_RESET);

  /*Configure GPIO pin Output Level */
  HAL_GPIO_WritePin(GPIOA, EN_BUCK_Pin|RS485_DIR_Pin, GPIO_PIN_RESET);

  /*Configure GPIO pin Output Level */
  HAL_GPIO_WritePin(GPIOC, SPI1_RST_Pin|SPI1_CS_Pin, GPIO_PIN_SET);

  /*Configure GPIO pin Output Level */
  HAL_GPIO_WritePin(GPIOB, SPI2_CS3_Pin|SPI2_CS2_Pin|SPI2_CS1_Pin, GPIO_PIN_RESET);

  /*Configure GPIO pins : LED_G_Pin LED_R_Pin EN_EXT_Pin */
  GPIO_InitStruct.Pin = LED_G_Pin|LED_R_Pin|EN_EXT_Pin;
  GPIO_InitStruct.Mode = GPIO_MODE_OUTPUT_PP;
  GPIO_InitStruct.Pull = GPIO_NOPULL;
  GPIO_InitStruct.Speed = GPIO_SPEED_FREQ_LOW;
  HAL_GPIO_Init(GPIOC, &GPIO_InitStruct);

  /*Configure GPIO pin : PG_BUCK_Pin */
  GPIO_InitStruct.Pin = PG_BUCK_Pin;
  GPIO_InitStruct.Mode = GPIO_MODE_INPUT;
  GPIO_InitStruct.Pull = GPIO_NOPULL;
  HAL_GPIO_Init(PG_BUCK_GPIO_Port, &GPIO_InitStruct);

  /*Configure GPIO pins : EN_BUCK_Pin RS485_DIR_Pin */
  GPIO_InitStruct.Pin = EN_BUCK_Pin|RS485_DIR_Pin;
  GPIO_InitStruct.Mode = GPIO_MODE_OUTPUT_PP;
  GPIO_InitStruct.Pull = GPIO_NOPULL;
  GPIO_InitStruct.Speed = GPIO_SPEED_FREQ_LOW;
  HAL_GPIO_Init(GPIOA, &GPIO_InitStruct);

  /*Configure GPIO pins : SPI1_RST_Pin SPI1_CS_Pin */
  GPIO_InitStruct.Pin = SPI1_RST_Pin|SPI1_CS_Pin;
  GPIO_InitStruct.Mode = GPIO_MODE_OUTPUT_PP;
  GPIO_InitStruct.Pull = GPIO_PULLUP;
  GPIO_InitStruct.Speed = GPIO_SPEED_FREQ_LOW;
  HAL_GPIO_Init(GPIOC, &GPIO_InitStruct);

  /*Configure GPIO pins : SPI2_CS3_Pin SPI2_CS2_Pin SPI2_CS1_Pin */
  GPIO_InitStruct.Pin = SPI2_CS3_Pin|SPI2_CS2_Pin|SPI2_CS1_Pin;
  GPIO_InitStruct.Mode = GPIO_MODE_OUTPUT_PP;
  GPIO_InitStruct.Pull = GPIO_NOPULL;
  GPIO_InitStruct.Speed = GPIO_SPEED_FREQ_LOW;
  HAL_GPIO_Init(GPIOB, &GPIO_InitStruct);

}

void StartDefaultTask(void *argument)
{
  /* USER CODE BEGIN 5 */
  /* Infinite loop */
  for(;;)
  {
	HAL_GPIO_TogglePin(LED_R_GPIO_Port, LED_R_Pin);
    osDelay(200);
  }
  /* USER CODE END 5 */
}

void Start_lasf_Task(void *argument)
{
  /* USER CODE BEGIN Start_lasf_Task */
  if (RD_UART_INIT(&LASF_uart6) != RET_OK) Error_Handler();

  for (int i=0; i<LASF_NUM; i++){
	  RD_LASF_INIT(&LASF[i]);
	  LASF[i].LASF.ID = i+1;
	  LASF[i].RX.ID = i+1;
	  LASF[i].TX.ID = i+1;
  }
  /* Infinite loop */
  for(;;)
  {
	  for (int i=0; i<LASF_NUM; i++){
		  RD_LASF_WRITE(&LASF_uart6, &LASF[i]);
		  RD_RET comm_state = RET_WAIT;
		  uint32_t comm_cnt = 0;

		  while (comm_state != RET_OK && comm_cnt <= 1){
			  osDelay(2);
			  comm_state = RD_LASF_READ(&LASF_uart6, &LASF[i]);

			  /*
		  	  if (comm_state == RET_OK){
			  HAL_GPIO_WritePin(LED_R_GPIO_Port, LED_R_Pin, GPIO_PIN_RESET);
		  	  }
		  	  else if(comm_state == RET_NOK) HAL_GPIO_WritePin(LED_R_GPIO_Port, LED_R_Pin, GPIO_PIN_SET); //이거 나중에 sys_state를 default task에서 관리하면서 인디케이팅 하는게 맞을듯
		  	  */
		  	  comm_cnt++;
		  }
		  //RX
		  LASF[i].TX.SET_MODE = LASF[i].LASF.CTL_MODE;
		  LASF[i].TX.CTL_POS = LASF[i].LASF.CTL_POS;
		  LASF[i].TX.CTL_FORCE=LASF[i].LASF.CTL_FORCE+LASF[i].LASF.FT_OFFSET;
		  LASF[i].TX.CTL_SPEED=LASF[i].LASF.CTL_SPEED;

		  //TX
		  LASF[i].LASF.ACT_POS = LASF[i].RX.ACT_POS;
		  LASF[i].LASF.CURRENT = LASF[i].RX.CURRENT;
		  LASF[i].LASF.FT_VAL = LASF[i].RX.FT_VAL-LASF[i].LASF.FT_OFFSET;
		  LASF[i].LASF.TEMP = LASF[i].RX.TEMP;
		  LASF[i].LASF.Error_C = LASF[i].RX.Error_C;
		  LASF[i].LASF.FT_ADC = LASF[i].RX.FT_ADC;
		  LASF[i].LASF.TAR_POS = LASF[i].RX.TAR_POS;
	  }
	HAL_GPIO_TogglePin(LED_G_GPIO_Port, LED_G_Pin);

	osDelay(1);
  }
  /* USER CODE END Start_lasf_Task */
}

void Startrs485(void *argument)
{
  /* USER CODE BEGIN Startrs485 */
  static const uint8_t DYN_IDS[3] = {2, 3, 4};

  /* ── 초기화 ──────────────────────────────────*/
  //osDelay(500);
  if (RD_RS485_INIT(&DYN_rs485) != RET_OK) Error_Handler();

  for (int i = 0; i < 3; i++) { //edit
	  if (RD_DYN_INIT(&xc330[i], DYN_IDS[i]) != RET_OK) Error_Handler();
	  for (int j = 0; j < 3; j++)
		  if (RD_DYN_INIT_SET(&DYN_rs485, &xc330[i]) != RET_WAIT) break;
  }

  /********** Simple Example ********/
  /*
  for (int j = 0; j < 3; j++){ //try repeat
	for (int i = 0; i < 3; i++) {
	xc330[i].inst = INST_WRITE;  			      // Instruction set
	xc330[i].addr.start  = DYN_ADDR_GOAL_CURRENT;  // Start Address set
	xc330[i].addr.size   = DYN_SIZE_GOAL_CURRENT;  // Data Length set
	xc330[i].ram.cmd.goal_current = 250;			  // Cmd data set. 2.69 [mA/U]
	RD_DYN_LOOP(&DYN_rs485, &xc330[i]);
	}
	osDelay(10);
  }
  */

  /**********************************/

  uint32_t tick_cnt = 0;
  for (;;)
  {
  /*====================================INF Loop BEGIN================================*/
	uint32_t start_tick = osKernelGetTickCount();
	for (int i = 0; i < 3; i++)
	{
	  if (++tick_cnt % 2 == 0){
		  RD_DYN_UPDATE_STATE(&xc330[i]);
		  RD_DYN_LOOP(&DYN_rs485, &xc330[i]);
		  osDelay(1);
		  RD_DYN_UPDATE_HWERROR(&xc330[i]);
		  RD_DYN_LOOP(&DYN_rs485, &xc330[i]);
		  osDelay(1);
	  } else {
		  RD_DYN_UPDATE_CMD(&xc330[i], xc330[i].ctl_mode);
		  RD_DYN_LOOP(&DYN_rs485, &xc330[i]);
		  osDelay(1);
		  if (xc330[i].mode != xc330[i].ctl_mode){ //모드변경
			  RD_DYN_OPERATE_ON(&xc330[i], xc330[i].ctl_mode);
			  RD_DYN_LOOP(&DYN_rs485, &xc330[i]);
			  osDelay(1);
		  }
		  if (xc330[i].enable != xc330[i].ctl_enable){
			  RD_DYN_TORQUE_ON(&xc330[i], xc330[i].ctl_enable);
			  RD_DYN_LOOP(&DYN_rs485, &xc330[i]);
			  osDelay(1);
		  }
	  }
	  //RD_DYN_LOOP(&DYN_rs485, &xc330[i]);
	}
	Diff_tick = osKernelGetTickCount() - start_tick;
  /*======================INF Loop END=======================*/
  }

  /* USER CODE END Startrs485 */
}

void Start_tectile_Task(void *argument)
{
  /* USER CODE BEGIN Start_tectile_Task */
  //HAL_Delay(200);
  //Paxini_Init();
  //HAL_Delay(100);
  uint8_t tare_cmd = 1;
  for (int i=0; i<3; i++){
	  Paxini_Write(paxini_ID[i], 0x79, 3, 1, &tare_cmd);   // 1번 노드(Finger 1), 0x79 기능코드, 주소 3번에 1바이트(1) 쓰기
  }

  HAL_Delay(100);
  /* Infinite loop */
  for(;;)
  {
	  for (int i=0; i<3; i++){
		  RD_RET status = Paxini_Read(paxini_ID[i], 0x7b, 1008, 3, my_pdata);
		  if (status == RET_OK) {
			  if (my_pdata[0] == 0x01) {
				  tactile[i].GET_SUM.Fx = (float)my_pdata[1];
				  tactile[i].GET_SUM.Fy = (float)my_pdata[2];
				  tactile[i].GET_SUM.Fz = (float)my_pdata[3];
			  }
		  }
		  osDelay(1);
	  }

	  //RD_RET status = Paxini_Read(paxini_ID, 0x7b, 1038, 381, my_pdata);
	  /*
	  if (status == RET_OK) {
		  // check Status : respond 0x01
		  if (my_pdata[0] == 0x01) {
			  process_tactile_data(my_pdata, &tactile1);

		  }
	  }
		*/

    osDelay(10);

  }
  /* USER CODE END Start_tectile_Task */
}

void StartsoesTask(void *argument)
{
  /* USER CODE BEGIN StartsoesTask */
  ecat_slv_init(&esc_config); //init ethercat slave

  esc_id = lan9252_read_32(0x0050); //connection check

  ESC_init(&esc_config);

  /* Infinite loop */
  for(;;)
  {
	ecat_slv();
	osDelay(1);
  }
  /* USER CODE END StartsoesTask */
}

void HAL_TIM_PeriodElapsedCallback(TIM_HandleTypeDef *htim)
{
  if (htim->Instance == TIM6)
  {
    HAL_IncTick();
  }
}

void Error_Handler(void)
{
  __disable_irq();
  while (1)
  {
  }
}
